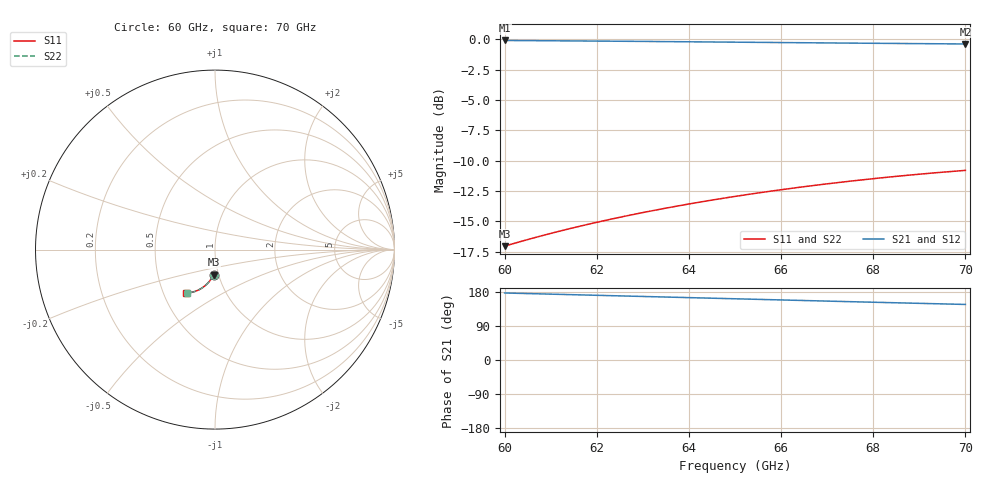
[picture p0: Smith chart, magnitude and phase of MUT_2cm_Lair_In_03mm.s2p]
! TOUCHSTONE file generated by CST MICROWAVE STUDIO
! Date and time: Fri Mar  8 11:09:31 2024
! Project name: material_angular.cst
! Parameters = {d=9.15; Yi=5; iiii=5; exis2=5; exis=5; X=5; Z=5; Y=2}
! Header version: 2018
! Port assignment regex: !\s*Touchstone port\s*([0-9]+)\s*=\s*(CST MWS port|CST DS port)\s*([0-9]+|Zmin|Zmax)\s*\(\"(.*)\"\)(\s*mode\s*([0-9]+))?.*
! Touchstone port assignment:
! Touchstone port 1 = CST MWS port 1 ("")
! Touchstone port 2 = CST MWS port 2 ("")
# GHz S MA R 376.7
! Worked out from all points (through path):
!   1001 points, 60 GHz to 70 GHz, reference 376.7 ohm
!   highest |S21| = -0.09 dB at 60 GHz (marker M1); lowest = -0.4 dB at 70 GHz (marker M2)
!   group delay of S21, straight-line fit = 8.41 ps
!   lowest |S11| = -17.0 dB at 60 GHz (marker M3), VSWR 1.33, Z = 357 - j102 ohm
!   |S11| at or under -10 dB: start of sweep to end of sweep
!   |S22| runs from -17.0 to -10.8 dB; largest |S21 - S12| = 0.00044
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60  0.1406 -93.2  0.99 176.9  0.9899 176.9  0.1406 -93.1
60.05  0.1415 -93.4  0.9899 176.7  0.9898 176.7  0.1415 -93.2
60.46  0.1489 -94.7  0.9888 175.4  0.9887 175.4  0.149 -94.5
60.88  0.1565 -96.0  0.9876 174.1  0.9875 174.1  0.1565 -95.8
61.27  0.1635 -97.2  0.9865 172.9  0.9864 172.9  0.1635 -97.1
61.67  0.1706 -98.4  0.9853 171.6  0.9853 171.6  0.1706 -98.3
62.07  0.1775 -99.7  0.9841 170.4  0.9841 170.4  0.1775 -99.6
62.49  0.1848 -101.0  0.9828 169.1  0.9828 169.1  0.1848 -100.9
62.91  0.1919 -102.3  0.9814 167.8  0.9815 167.8  0.1919 -102.2
63.34  0.199 -103.6  0.98 166.5  0.9801 166.5  0.199 -103.5
63.74  0.2056 -104.8  0.9786 165.2  0.9788 165.2  0.2056 -104.7
64.16  0.2123 -106.1  0.9772 164.0  0.9774 164.0  0.2123 -106.0
64.58  0.219 -107.4  0.9757 162.7  0.9759 162.7  0.2189 -107.3
65  0.2254 -108.6  0.9742 161.4  0.9744 161.4  0.2254 -108.6
65.41  0.2316 -109.9  0.9728 160.2  0.973 160.2  0.2316 -109.8
65.83  0.2377 -111.1  0.9713 158.9  0.9715 158.9  0.2377 -111.1
66.67  0.2495 -113.6  0.9683 156.4  0.9685 156.4  0.2495 -113.6
67.5  0.2605 -116.1  0.9653 153.9  0.9656 153.9  0.2605 -116.1
68.34  0.2708 -118.6  0.9625 151.4  0.9628 151.4  0.2708 -118.5
69.21  0.2806 -121.1  0.9598 148.9  0.96 148.9  0.2806 -121.1
69.95  0.2881 -123.3  0.9577 146.7  0.9578 146.7  0.2882 -123.2
70  0.2886 -123.4  0.9576 146.6  0.9576 146.6  0.2887 -123.4
